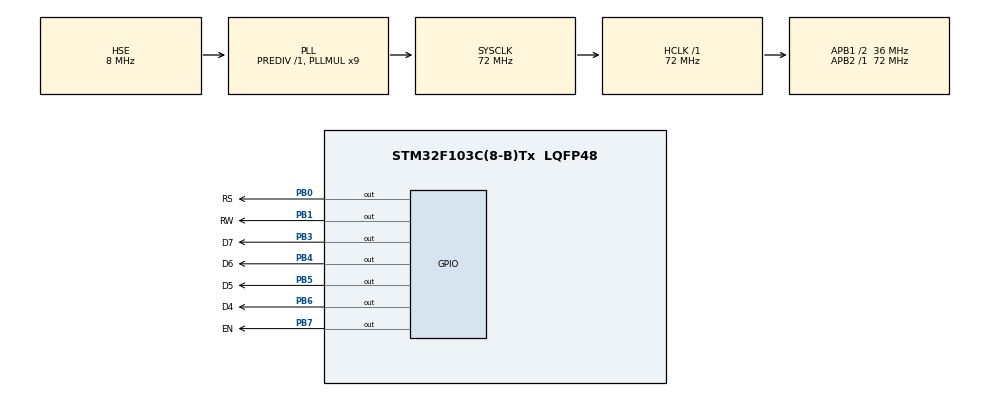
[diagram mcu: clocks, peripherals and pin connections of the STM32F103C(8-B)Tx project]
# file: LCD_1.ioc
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Mcu.Family=STM32F1
Mcu.Name=STM32F103C(8-B)Tx
Mcu.Package=LQFP48
NVIC.PriorityGroup=NVIC_PRIORITYGROUP_4
PA13.Mode=Serial_Wire
PA13.Signal=SYS_JTMS-SWDIO
PA14.Mode=Serial_Wire
PA14.Signal=SYS_JTCK-SWCLK
PB0.GPIO_Label=RS
PB0.Signal=GPIO_Output
PB1.GPIO_Label=RW
PB1.Signal=GPIO_Output
PB3.GPIO_Label=D7
PB3.Signal=GPIO_Output
PB4.GPIO_Label=D6
PB4.Signal=GPIO_Output
PB5.GPIO_Label=D5
PB5.Signal=GPIO_Output
PB6.GPIO_Label=D4
PB6.Signal=GPIO_Output
PB7.GPIO_Label=EN
PB7.Signal=GPIO_Output
PD0-OSC_IN.Mode=HSE-External-Oscillator
PD0-OSC_IN.Signal=RCC_OSC_IN
PD1-OSC_OUT.Mode=HSE-External-Oscillator
PD1-OSC_OUT.Signal=RCC_OSC_OUT
ProjectManager.HeapSize=0x200
ProjectManager.StackSize=0x400
ProjectManager.TargetToolchain=SW4STM32
RCC.AHBFreq_Value=72000000
RCC.APB1CLKDivider=RCC_HCLK_DIV2
RCC.APB1Freq_Value=36000000
RCC.APB1TimFreq_Value=72000000
RCC.APB2Freq_Value=72000000
RCC.APB2TimFreq_Value=72000000
RCC.HCLKFreq_Value=72000000
RCC.PLLMUL=RCC_PLL_MUL9
RCC.PLLSourceVirtual=RCC_PLLSOURCE_HSE
RCC.SYSCLKFreq_VALUE=72000000
RCC.SYSCLKSource=RCC_SYSCLKSOURCE_PLLCLK
RCC.USBFreq_Value=72000000
board=custom

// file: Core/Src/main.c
/* USER CODE BEGIN Header */
/**
  ******************************************************************************
  * @file           : main.c
  * @brief          : Main program body
  ******************************************************************************
  * @attention
  *
  * Copyright (c) 2022 STMicroelectronics.
  * All rights reserved.
  *
  * This software is licensed under terms that can be found in the LICENSE file
  * in the root directory of this software component.
  * If no LICENSE file comes with this software, it is provided AS-IS.
  *
  ******************************************************************************
  */
/* USER CODE END Header */
#include "main.h"
#include "string.h"

/* USER CODE BEGIN PV */
uint16_t i;
const unsigned char Font[] = {
															0x00, 0x04, 0x0A, 0x0E, 0x11, 0x11, 0x0E, 0x00,//�
															0x06, 0x0B, 0x0E, 0x01, 0x0F, 0x11, 0x0F, 0x00,//� huyen
															0x00, 0x04, 0x02, 0x0E, 0x11, 0x11, 0x0E, 0x00,//�
															0x05, 0x0A, 0x03, 0x0E, 0x11, 0x11, 0x0E, 0x00,//� nga
															0x0C, 0x0A, 0x09, 0x1D, 0x09, 0x0A, 0x0C, 0x00,// �
															0x0C, 0x1A, 0x0E, 0x01, 0x0F, 0x11, 0x0F, 0x00,// � sac
															0x99
														 };
const unsigned char Font2[] = {
															0x05, 0x0E, 0x0A, 0x0E, 0x11, 0x1E, 0x0E, 0x00,//� nga
															0x04, 0x0C, 0x0A, 0x0E, 0x11, 0x11, 0x0E, 0x00,//� sac
															0x00, 0x00, 0x03, 0x12, 0x12, 0x12, 0x0C, 0x00,// uw
															0x00, 0x00, 0x03, 0x0E, 0x11, 0x11, 0x0E, 0x00,// ow
															0x99
															};

const unsigned char line1_1[] = {0x54,0x72,0x01,0x6E,' ',0x43,0x00,0x6E,0x67,' ',0x48,0x02,0x61};
const unsigned char line1_2[] = {0x04,0x03,' ',0x54,0x75,0x05,0x6E,' ',0x44,0x75,0x79};
const unsigned char line1_3[] = {0x4E,0x67,0x75,0x79,0x00,0x6E,' ',0x51,0x75,0x01,0x63,' ',0x44,0x02,0x03,0x6E,0x67};
/* USER CODE END PV */

void SystemClock_Config(void);
static void MX_GPIO_Init(void);

/* USER CODE BEGIN 0 */
void write_to_lcd_4bits(uint8_t rs, uint8_t data)
{
	HAL_GPIO_WritePin(RS_GPIO_Port, RS_Pin, rs);
	HAL_GPIO_WritePin(RW_GPIO_Port, RW_Pin, 0);
	HAL_GPIO_WritePin(EN_GPIO_Port, EN_Pin, 1);

	HAL_GPIO_WritePin(D7_GPIO_Port, D7_Pin, ((data>>3)&0x01));
	HAL_GPIO_WritePin(D6_GPIO_Port, D6_Pin, ((data>>2)&0x01));
	HAL_GPIO_WritePin(D5_GPIO_Port, D5_Pin, ((data>>1)&0x01));
	HAL_GPIO_WritePin(D4_GPIO_Port, D4_Pin, ((data>>0)&0x01));

	for(i = 0; i < 72; i++)
	{
		__asm("NOP");
	}

	HAL_GPIO_WritePin(EN_GPIO_Port, EN_Pin, 0);
	HAL_Delay(1);
}

void send_command(uint8_t data)
{
	write_to_lcd_4bits(0, (data>>4)&0x0f);
	write_to_lcd_4bits (0, (data>>0)&0x0f);
}

void display_lcd(uint8_t data)
{
	write_to_lcd_4bits(1, (data>>4)&0x0f);
	write_to_lcd_4bits (1, (data>>0)&0x0f);
}

void display_text(char *data)
{
	uint8_t j;
	for(j=0; j<strlen(data); j++)
	{
		display_lcd(data[j]);
	}
}

void  lcd_clear()
{
	send_command(0x01);
	HAL_Delay(20);
}

void nap_tudien()
{
	char i = 0;
	send_command(0x40); // che do nap tu dien moi
	while(Font[i] != 0x99)
	{
		display_lcd(Font[i]);
		i++;
	}
}

void nap_tudien2(void)
{
	char i = 0;
	send_command(0x40); // che do nap tu dien moi
	while(Font2[i] != 0x99)
	{
		display_lcd(Font2[i]);
		i++;
	}
}
void set_cursor(uint8_t row, uint8_t col)
{
	uint8_t temp;
	switch(row)
	{
		case 0:
			temp = col|0x80;
		  break;
		case 1:
			temp = col|0xC0;
		  break;
		default:
			temp = col|0x80;
	}
	send_command(temp);
}

void lcd_config()
{
	send_command(0x28); //LCD 4bit, 2-line, 5x8 hieu 2
	HAL_Delay(10);
	send_command(0x28); //LCD 4bit, 2-line, 5x8 hieu 8
	HAL_Delay(10);
	send_command(0x0f);
	HAL_Delay(1);
	send_command(0x06);
	HAL_Delay(1);
	send_command(0x01);
	HAL_Delay(20);
}

void lcd_ShiftLeft(uint8_t n)
{
	for(int i = 0; i < n; i++)
	{
		send_command(0x18);
		HAL_Delay(1000);
	}
}

void lcd_ShiftRight(uint8_t n)
{
	for(int i = 0; i < n; i++)
	{
		send_command(0x1C);
		HAL_Delay(1000);
	}
}

void busy(int n)
{
	int start = HAL_GetTick();
	while(HAL_GetTick() - start < n)
	{
	}
}

/* USER CODE END 0 */

int main(void)
{

  /* MCU Configuration--------------------------------------------------------*/

  /* Reset of all peripherals, Initializes the Flash interface and the Systick. */
  HAL_Init();

  /* Configure the system clock */
  SystemClock_Config();

  /* Initialize all configured peripherals */
  MX_GPIO_Init();
  /* USER CODE BEGIN 2 */
	lcd_config();

	lcd_clear();

  /* USER CODE END 2 */

  /* Infinite loop */
  while (1)
  {

    /* USER CODE BEGIN 3 */
		lcd_clear();
		nap_tudien();
		set_cursor(0,2);
		for(int i = 0 ; i < 13; i++)
		{
			display_lcd(line1_1[i]);
		}
		set_cursor(1,4);
		display_text("20017691");
		HAL_Delay(5000);
		lcd_clear();
		set_cursor(0,2);
		for(int i = 0 ; i < 11; i++)
		{
			display_lcd(line1_2[i]);
		}
		set_cursor(1,4);
		display_text("20061261");
		HAL_Delay(5000);
		lcd_clear();
		nap_tudien2();
		set_cursor(0,1);

		for(int i = 0 ; i < 17; i++)
		{
			display_lcd(line1_3[i]);
		}
		set_cursor(1,4);
		display_text("20123251");
		lcd_ShiftLeft(3);
		HAL_Delay(5000);
	}

  /* USER CODE END 3 */
}

void SystemClock_Config(void)
{
  RCC_OscInitTypeDef RCC_OscInitStruct = {0};
  RCC_ClkInitTypeDef RCC_ClkInitStruct = {0};

  /** Initializes the RCC Oscillators according to the specified parameters
  * in the RCC_OscInitTypeDef structure.
  */
  RCC_OscInitStruct.OscillatorType = RCC_OSCILLATORTYPE_HSE;
  RCC_OscInitStruct.HSEState = RCC_HSE_ON;
  RCC_OscInitStruct.HSEPredivValue = RCC_HSE_PREDIV_DIV1;
  RCC_OscInitStruct.HSIState = RCC_HSI_ON;
  RCC_OscInitStruct.PLL.PLLState = RCC_PLL_ON;
  RCC_OscInitStruct.PLL.PLLSource = RCC_PLLSOURCE_HSE;
  RCC_OscInitStruct.PLL.PLLMUL = RCC_PLL_MUL9;
  if (HAL_RCC_OscConfig(&RCC_OscInitStruct) != HAL_OK)
  {
    Error_Handler();
  }

  /** Initializes the CPU, AHB and APB buses clocks
  */
  RCC_ClkInitStruct.ClockType = RCC_CLOCKTYPE_HCLK|RCC_CLOCKTYPE_SYSCLK
                              |RCC_CLOCKTYPE_PCLK1|RCC_CLOCKTYPE_PCLK2;
  RCC_ClkInitStruct.SYSCLKSource = RCC_SYSCLKSOURCE_PLLCLK;
  RCC_ClkInitStruct.AHBCLKDivider = RCC_SYSCLK_DIV1;
  RCC_ClkInitStruct.APB1CLKDivider = RCC_HCLK_DIV2;
  RCC_ClkInitStruct.APB2CLKDivider = RCC_HCLK_DIV1;

  if (HAL_RCC_ClockConfig(&RCC_ClkInitStruct, FLASH_LATENCY_2) != HAL_OK)
  {
    Error_Handler();
  }
}

static void MX_GPIO_Init(void)
{
  GPIO_InitTypeDef GPIO_InitStruct = {0};

  /* GPIO Ports Clock Enable */
  __HAL_RCC_GPIOD_CLK_ENABLE();
  __HAL_RCC_GPIOB_CLK_ENABLE();
  __HAL_RCC_GPIOA_CLK_ENABLE();

  /*Configure GPIO pin Output Level */
  HAL_GPIO_WritePin(GPIOB, RS_Pin|RW_Pin|D4_Pin|D5_Pin
                          |D6_Pin|D7_Pin|EN_Pin, GPIO_PIN_RESET);

  /*Configure GPIO pins : RS_Pin RW_Pin D4_Pin D5_Pin
                           D6_Pin D7_Pin EN_Pin */
  GPIO_InitStruct.Pin = RS_Pin|RW_Pin|D4_Pin|D5_Pin
                          |D6_Pin|D7_Pin|EN_Pin;
  GPIO_InitStruct.Mode = GPIO_MODE_OUTPUT_PP;
  GPIO_InitStruct.Pull = GPIO_NOPULL;
  GPIO_InitStruct.Speed = GPIO_SPEED_FREQ_LOW;
  HAL_GPIO_Init(GPIOB, &GPIO_InitStruct);

}

void Error_Handler(void)
{
  __disable_irq();
  while (1)
  {
  }
}
